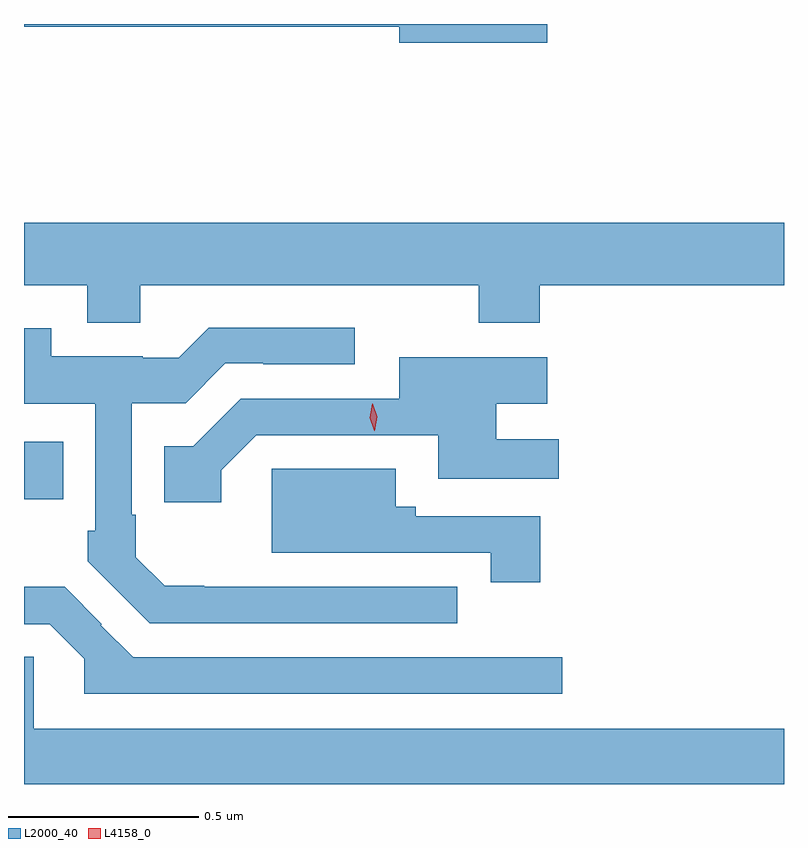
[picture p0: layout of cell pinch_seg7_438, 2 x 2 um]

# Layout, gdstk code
import gdstk
lib = gdstk.Library(unit=1e-6, precision=1e-09)
def R(c, l, rs):  # rectangles x0, y0, x1, y1
    for r in rs: c.add(gdstk.rectangle(r[:2], r[2:], *l))
def P(c, l, *ps):  # polygons
    for p in ps: c.add(gdstk.Polygon(p, *l))
L2000_40 = (2000, 40)
L4158_0 = (4158, 0)

pinch_seg7_438 = lib.new_cell('pinch_seg7_438')
R(pinch_seg7_438, L2000_40, [(362.38,1074.644,362.483,1074.796)])
P(pinch_seg7_438, L2000_40, [(363.757,1075.895),(362.38,1075.895),(362.38,1075.888),(363.368,1075.888),(363.368,1075.846),(363.757,1075.846)],
  [(362.686,1075.208),(363.577,1075.208),(363.577,1075.109),(363.737,1075.109),(363.737,1075.208),(364.38,1075.208),(364.38,1075.372),(362.38,1075.372),(362.38,1075.208),(362.546,1075.208),(362.546,1075.109),(362.686,1075.109)],
  [(363.52,1074.414),(362.854,1074.414),(362.854,1074.417),(362.75,1074.417),(362.674,1074.492),(362.674,1074.604),(362.664,1074.604),(362.664,1074.897),(362.805,1074.897),(362.91,1075.002),(363.01,1075.002),(363.01,1074.999),(363.25,1074.999),(363.25,1075.096),(362.866,1075.096),(362.787,1075.017),(362.693,1075.017),(362.693,1075.021),(362.452,1075.021),(362.452,1075.095),(362.38,1075.095),(362.38,1074.896),(362.568,1074.896),(362.568,1074.562),(362.548,1074.562),(362.548,1074.481),(362.711,1074.318),(363.52,1074.318)],
  [(362.899,1074.721),(362.991,1074.813),(363.47,1074.813),(363.47,1074.698),(363.787,1074.698),(363.787,1074.802),(363.623,1074.802),(363.623,1074.896),(363.757,1074.896),(363.757,1075.018),(363.368,1075.018),(363.368,1074.909),(362.951,1074.909),(362.826,1074.784),(362.749,1074.784),(362.749,1074.636),(362.899,1074.636)],
  [(363.739,1074.6),(363.411,1074.6),(363.411,1074.625),(363.358,1074.625),(363.358,1074.724),(363.032,1074.724),(363.032,1074.503),(363.311,1074.503),(363.311,1074.504),(363.608,1074.504),(363.608,1074.426),(363.739,1074.426)],
  [(363.796,1074.228),(362.667,1074.228),(362.582,1074.313),(362.585,1074.316),(362.487,1074.414),(362.38,1074.414),(362.38,1074.315),(362.448,1074.315),(362.539,1074.225),(362.539,1074.132),(363.796,1074.132)],
  [(364.38,1074.04),(362.406,1074.04),(362.406,1074.23),(362.38,1074.23),(362.38,1073.895),(364.38,1073.895)])
P(pinch_seg7_438, L4158_0, [(363.302,1074.824),(363.29,1074.859),(363.297,1074.896),(363.297,1074.896),(363.298,1074.896),(363.31,1074.861),(363.303,1074.824),(363.303,1074.824)])

lib.write_gds('pinch_seg7_438.gds')
